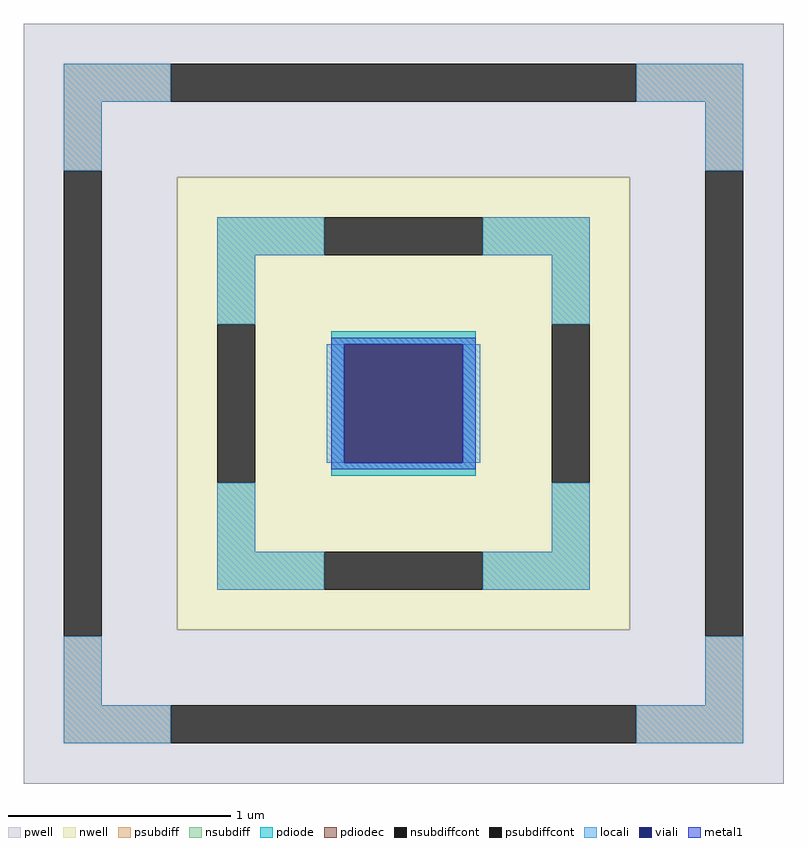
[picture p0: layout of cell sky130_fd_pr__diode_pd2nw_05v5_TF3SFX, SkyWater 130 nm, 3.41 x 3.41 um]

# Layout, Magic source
magic
tech sky130A
magscale 1 2
<< nwell >>
rect -203 -203 203 203
<< pwell >>
rect -341 203 341 341
rect -341 -203 -203 203
rect 203 -203 341 203
rect -341 -341 341 -203
<< psubdiff >>
rect -305 271 -209 305
rect 209 271 305 305
rect -305 209 -271 271
rect 271 209 305 271
rect -305 -271 -271 -209
rect 271 -271 305 -209
rect -305 -305 -209 -271
rect 209 -305 305 -271
<< nsubdiff >>
rect -167 133 -71 167
rect 71 133 167 167
rect -167 71 -133 133
rect 133 71 167 133
rect -167 -133 -133 -71
rect 133 -133 167 -71
rect -167 -167 -71 -133
rect 71 -167 167 -133
<< psubdiffcont >>
rect -209 271 209 305
rect -305 -209 -271 209
rect 271 -209 305 209
rect -209 -305 209 -271
<< nsubdiffcont >>
rect -71 133 71 167
rect -167 -71 -133 71
rect 133 -71 167 71
rect -71 -167 71 -133
<< pdiode >>
rect -65 53 65 65
rect -65 -53 -53 53
rect 53 -53 65 53
rect -65 -65 65 -53
<< pdiodec >>
rect -53 -53 53 53
<< locali >>
rect -305 271 -209 305
rect 209 271 305 305
rect -305 209 -271 271
rect 271 209 305 271
rect -167 133 -71 167
rect 71 133 167 167
rect -167 71 -133 133
rect 133 71 167 133
rect -69 -53 -53 53
rect 53 -53 69 53
rect -167 -133 -133 -71
rect 133 -133 167 -71
rect -167 -167 -71 -133
rect 71 -167 167 -133
rect -305 -271 -271 -209
rect 271 -271 305 -209
rect -305 -305 -209 -271
rect 209 -305 305 -271
<< viali >>
rect -53 -53 53 53
<< metal1 >>
rect -65 53 65 59
rect -65 -53 -53 53
rect 53 -53 65 53
rect -65 -59 65 -53
<< properties >>
string FIXED_BBOX -150 -150 150 150
string gencell sky130_fd_pr__diode_pd2nw_05v5
string library sky130
string parameters w 0.65 l 0.65 area 422.5m peri 2.6 nx 1 ny 1 dummy 0 lmin 0.45 wmin 0.45 elc 1 erc 1 etc 1 ebc 1 glc 1 grc 1 gtc 1 gbc 1 doverlap 1 compatible {sky130_fd_pr__diode_pd2nw_05v5 sky130_fd_pr__diode_pd2nw_05v5_lvt  sky130_fd_pr__diode_pd2nw_05v5_hvt sky130_fd_pr__diode_pd2nw_11v0} full_metal 1 vias 1 viagb 0 viagt 0 viagl 0 viagr 0
<< end >>
